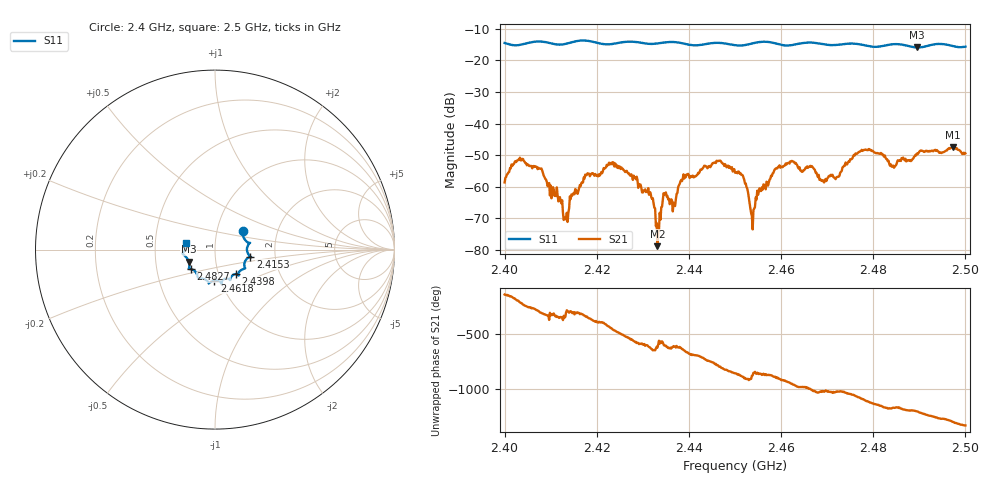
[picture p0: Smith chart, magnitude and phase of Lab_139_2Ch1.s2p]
# Hz S RI R 50
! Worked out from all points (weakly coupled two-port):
!   601 points, 2.4 GHz to 2.5 GHz, reference 50 ohm
!   highest |S21| = -47.53 dB at 2.4973 GHz (marker M1); lowest = -78.8 dB at 2.4332 GHz (marker M2)
!   lowest |S11| = -15.9 dB at 2.4895 GHz (marker M3), VSWR 1.38, Z = 37 - j5.05 ohm
!   |S11| at or under -10 dB: start of sweep to end of sweep
!   S12 and S22 are empty: the file has one direction only
!   S11 on the Smith chart (normalised r, x): 2.4 GHz: 1.33, +0.29; 2.4153 GHz: 1.48, -0.12; 2.4398 GHz: 1.21, -0.34; 2.4618 GHz: 0.94, -0.33; 2.4827 GHz: 0.75, -0.17; 2.5 GHz: 0.72, +0.06
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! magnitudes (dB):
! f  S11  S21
! 2.4 GHz  -14.5  -58.6
! 2.4028 GHz  -15.2  -51.7
! 2.4075 GHz  -14.0  -54.2
! 2.4132 GHz  -14.8  -69.9
! 2.4153 GHz  -14.0  -60.8
! 2.4167 GHz  -13.7  -58.8
! 2.4237 GHz  -14.7  -52.4
! 2.4317 GHz  -14.8  -61.9
! 2.4332 GHz  -14.6  -78.8
! 2.4333 GHz  -14.6  -74.2
! 2.4348 GHz  -14.3  -62.1
! 2.4367 GHz  -14.2  -65.1
! 2.4398 GHz  -15.0  -55.9
! 2.45 GHz  -15.2  -55.5
! 2.4538 GHz  -14.6  -73.5
! 2.4618 GHz  -15.2  -52.7
! 2.4667 GHz  -14.3  -53.4
! 2.4827 GHz  -15.2  -50.8
! 2.4833 GHz  -15.1  -51.8
! 2.4895 GHz  -15.9  -49.5
! 2.4973 GHz  -15.5  -47.5
! 2.5 GHz  -15.7  -49.4
